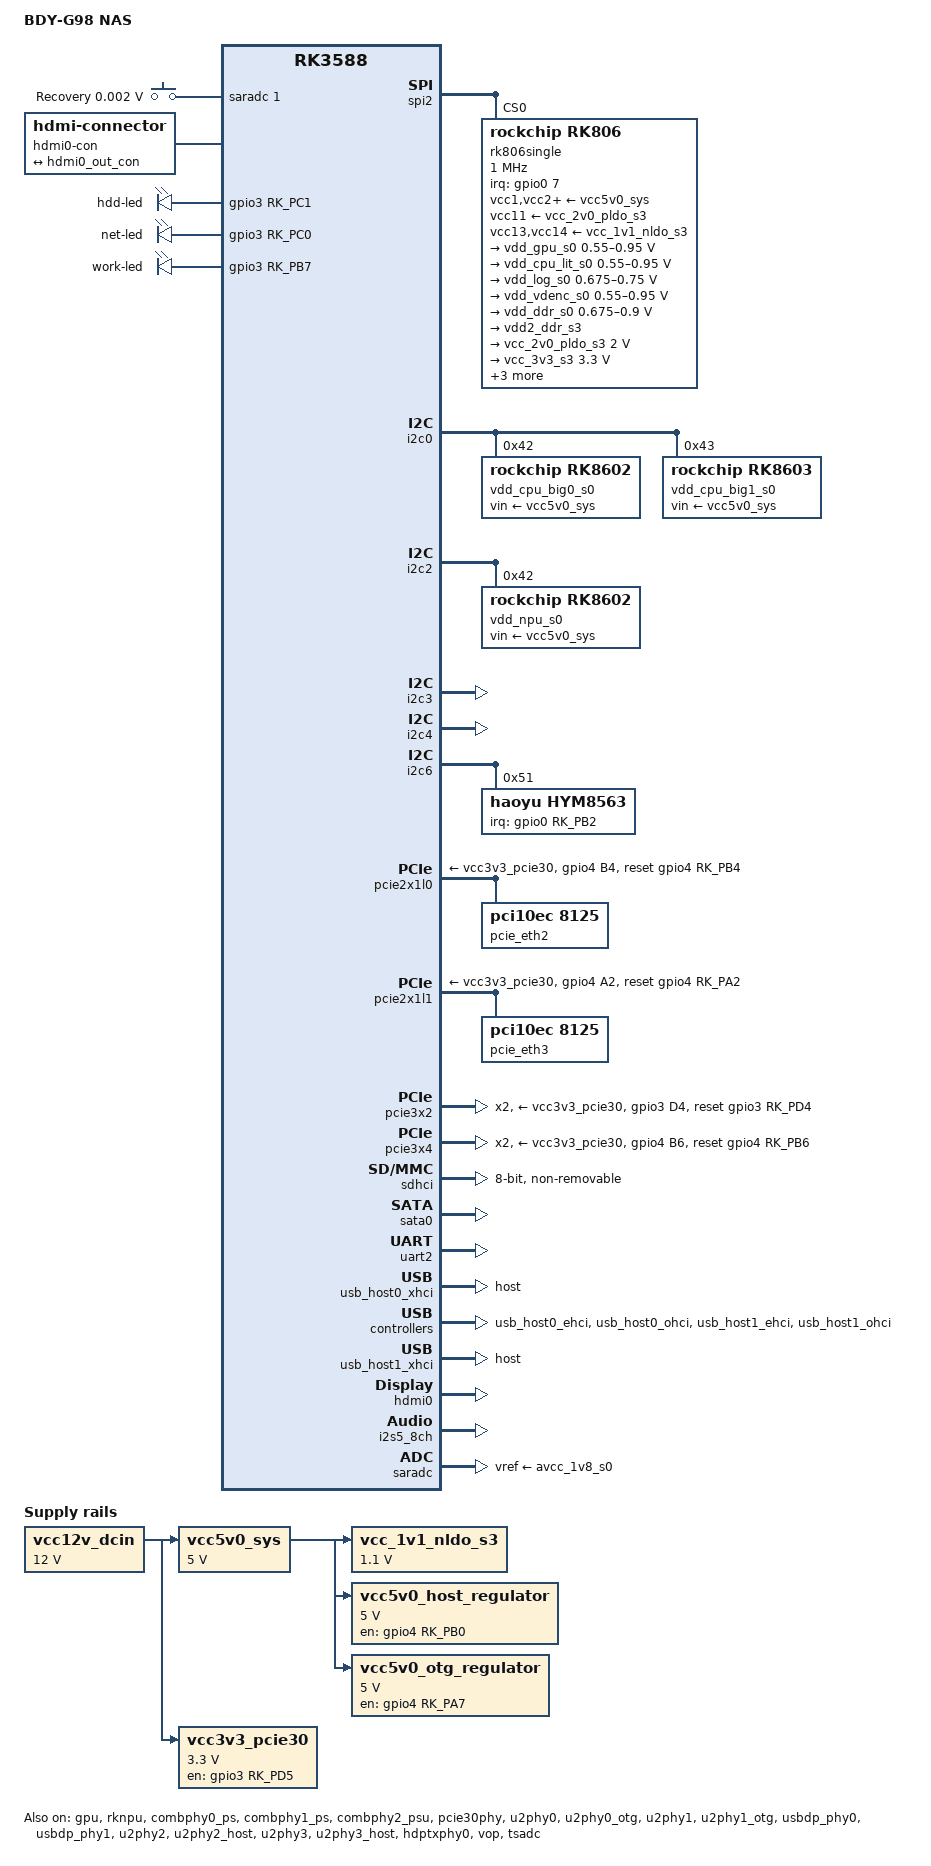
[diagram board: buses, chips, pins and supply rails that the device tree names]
// SPDX-License-Identifier: (GPL-2.0+ OR MIT)

/dts-v1/;

#include <dt-bindings/gpio/gpio.h>
#include <dt-bindings/leds/common.h>
#include <dt-bindings/input/input.h>
#include <dt-bindings/pwm/pwm.h>
#include <dt-bindings/pinctrl/rockchip.h>
#include <dt-bindings/soc/rockchip,vop2.h>
#include <dt-bindings/usb/pd.h>
#include <rockchip/rk3588.dtsi>
#include "rk3588-rk806-single.dtsi"
#include "rk3588s-ip.dtsi"
#include "rk3588s-ip-supply.dtsi"

#include "rk3588-ramoops.dtsi"

/ {
	model = "BDY-G98 NAS";
	compatible = "bdy,g98-nas", "rockchip,rk3588";
	eth_order = "0003:31:00.0,0002:21:00.0";

	aliases {
		mmc0 = &sdhci;
		mmc1 = &sdmmc;
		mmc2 = &sdio;
		ethernet0 = &gmac0;
		ethernet1 = &gmac1;
		ethernet2 = &pcie_eth2;
		ethernet3 = &pcie_eth3;
	};

	chosen {
		stdout-path = "serial2:1500000n8";
	};

	adc_keys: adc-keys {
		compatible = "adc-keys";
		io-channels = <&saradc 1>;
		io-channel-names = "buttons";
		keyup-threshold-microvolt = <1800000>;
		poll-interval = <100>;

		button-recovery {
			label = "Recovery";
			linux,code = <KEY_VENDOR>;
			press-threshold-microvolt = <1800>;
		};
	};

  // vcc12v_dcin
	vcc12v_dcin: regulator-vcc12v-dcin {
		compatible = "regulator-fixed";
		regulator-name = "vcc12v_dcin";
		regulator-always-on;
		regulator-boot-on;
		regulator-min-microvolt = <12000000>;
		regulator-max-microvolt = <12000000>;
	};

  // vcc5v0_sys
	vcc5v0_sys: regulator-vcc5v0-sys {
		compatible = "regulator-fixed";
		regulator-name = "vcc5v0_sys";
		regulator-always-on;
		regulator-boot-on;
		regulator-min-microvolt = <5000000>;
		regulator-max-microvolt = <5000000>;
		vin-supply = <&vcc12v_dcin>;
	};

  // vcc_1v1_nldo_s3
	vcc_1v1_nldo_s3: regulator-vcc-1v1-nldo-s3 {
		compatible = "regulator-fixed";
		regulator-name = "vcc_1v1_nldo_s3";
		regulator-always-on;
		regulator-boot-on;
		regulator-min-microvolt = <1100000>;
		regulator-max-microvolt = <1100000>;
		vin-supply = <&vcc5v0_sys>;
	};

  // vcc3v3-pcie30
	vcc3v3_pcie30: vcc3v3-pcie30 {
		compatible = "regulator-fixed";
		regulator-min-microvolt = <3300000>;
		regulator-max-microvolt = <3300000>;
		regulator-name = "vcc3v3_pcie30";
		vin-supply = <&vcc12v_dcin>;
		enable-active-high;
		gpios = <&gpio3 RK_PD5 GPIO_ACTIVE_HIGH>;
		startup-delay-us = <7500>;
		pinctrl-names = "default";
		pinctrl-0 = <&nvme_power_en>;
	};

  // vcc5v0-host-regulator
    vcc5v0_host_regulator: vcc5v0-host-regulator {
		compatible = "regulator-fixed";
		enable-active-high;
		gpio = <&gpio4 RK_PB0 GPIO_ACTIVE_HIGH>;
	  pinctrl-names = "default";
	  pinctrl-0 = <&vcc5v0_host_en>;
		regulator-name = "vcc5v0_host";
		regulator-boot-on;
		regulator-always-on;
		regulator-min-microvolt = <5000000>;
		regulator-max-microvolt = <5000000>;
		vin-supply = <&vcc5v0_sys>;
	};

  // vcc5v0-otg-regulator
	vcc5v0_otg_regulator: vcc5v0-otg-regulator {
		compatible = "regulator-fixed";
		enable-active-high;
		gpio = <&gpio4 RK_PA7 GPIO_ACTIVE_HIGH>;
		pinctrl-names = "default";
	  pinctrl-0 = <&vcc5v0_otg_en>;
		regulator-min-microvolt = <5000000>;
		regulator-max-microvolt = <5000000>;
		regulator-name = "vcc5v0_otg";
		vin-supply = <&vcc5v0_sys>;
	};

	hdmi0-con {
		compatible = "hdmi-connector";
		type = "a";

		port {
			hdmi0_con_in: endpoint {
				remote-endpoint = <&hdmi0_out_con>;
			};
		};
	};

	hdmi0_sound: hdmi0-sound {
		status = "okay";
		compatible = "rockchip,hdmi";
		rockchip,mclk-fs = <128>;
		rockchip,card-name = "rockchip,hdmi0";
		rockchip,cpu = <&i2s5_8ch>;
		rockchip,codec = <&hdmi0>;
	};

	leds {
		compatible = "gpio-leds";
		status = "okay";

		hdd-led {
			default-state = "off";
			gpios = <&gpio3 RK_PC1 GPIO_ACTIVE_HIGH>;
		};

		net-led {
			default-state = "off";
			gpios = <&gpio3 RK_PC0 GPIO_ACTIVE_HIGH>;
		};

		work-led {
			gpios = <&gpio3 RK_PB7 GPIO_ACTIVE_HIGH>;
			linux,default-trigger = "heartbeat";
		};
	};
};

/* ===== PMIC (RK806) ===== */

// spi@feb20000
&spi2 {
	assigned-clocks = <&cru CLK_SPI2>;
	assigned-clock-rates = <200000000>;
	num-cs = <1>;
	pinctrl-names = "default";
	pinctrl-0 = <&spi2m2_cs0 &spi2m2_pins>;
	status = "okay";

	rk806single: pmic@0 {
		compatible = "rockchip,rk806";
		reg = <0x0>;

		interrupt-parent = <&gpio0>;
		interrupts = <7 IRQ_TYPE_LEVEL_LOW>;

		pinctrl-names = "default";
		pinctrl-0 = <&pmic_pins>, <&rk806_dvs1_null>,
			    <&rk806_dvs2_null>, <&rk806_dvs3_null>;

		/* 0: restart PMU;
		 * 1: reset all the power off reset registers,
		 *    forcing the state to switch to ACTIVE mode;
		 * 2: Reset all the power off reset registers,
		 *    forcing the state to switch to ACTIVE mode,
		 *    and simultaneously pull down the RESETB PIN for 5mS before releasing
		 */
		// pmic-reset-func = <1>;
		rockchip,reset-mode = <1>;
		/*
		 * pwrkey long press off time, unit is seconds.
		 * available values are 6, 8, 10, and 12 seconds. default is 6 seconds.
		 */
		long-press-off-time-sec = <10>;
		spi-max-frequency = <1000000>;
		system-power-controller;

		vcc1-supply = <&vcc5v0_sys>;
		vcc2-supply = <&vcc5v0_sys>;
		vcc3-supply = <&vcc5v0_sys>;
		vcc4-supply = <&vcc5v0_sys>;
		vcc5-supply = <&vcc5v0_sys>;
		vcc6-supply = <&vcc5v0_sys>;
		vcc7-supply = <&vcc5v0_sys>;
		vcc8-supply = <&vcc5v0_sys>;
		vcc9-supply = <&vcc5v0_sys>;
		vcc10-supply = <&vcc5v0_sys>;
		vcc11-supply = <&vcc_2v0_pldo_s3>;
		vcc12-supply = <&vcc5v0_sys>;
		vcc13-supply = <&vcc_1v1_nldo_s3>;
		vcc14-supply = <&vcc_1v1_nldo_s3>;
		vcca-supply = <&vcc5v0_sys>;

		gpio-controller;
		#gpio-cells = <2>;

		rk806_dvs1_null: dvs1-null-pins {
			pins = "gpio_pwrctrl1";
			function = "pin_fun0";
		};

		rk806_dvs2_null: dvs2-null-pins {
			pins = "gpio_pwrctrl2";
			function = "pin_fun0";
		};

		rk806_dvs3_null: dvs3-null-pins {
			pins = "gpio_pwrctrl3";
			function = "pin_fun0";
		};

		regulators {
			vdd_gpu_s0: vdd_gpu_mem_s0: dcdc-reg1 {
				regulator-boot-on;
				regulator-min-microvolt = <550000>;
				regulator-max-microvolt = <950000>;
				regulator-ramp-delay = <12500>;
				regulator-name = "vdd_gpu_s0";
				regulator-enable-ramp-delay = <400>;

				regulator-state-mem {
					regulator-off-in-suspend;
				};
			};

			vdd_cpu_lit_s0: vdd_cpu_lit_mem_s0: dcdc-reg2 {
				regulator-always-on;
				regulator-boot-on;
				regulator-min-microvolt = <550000>;
				regulator-max-microvolt = <950000>;
				regulator-ramp-delay = <12500>;
				regulator-name = "vdd_cpu_lit_s0";

				regulator-state-mem {
					regulator-off-in-suspend;
				};
			};

			vdd_log_s0: dcdc-reg3 {
				regulator-always-on;
				regulator-boot-on;
				regulator-min-microvolt = <675000>;
				regulator-max-microvolt = <750000>;
				regulator-ramp-delay = <12500>;
				regulator-name = "vdd_log_s0";

				regulator-state-mem {
					regulator-off-in-suspend;
					regulator-suspend-microvolt = <750000>;
				};
			};

			vdd_vdenc_s0: vdd_vdenc_mem_s0: dcdc-reg4 {
				regulator-always-on;
				regulator-boot-on;
				regulator-min-microvolt = <550000>;
				regulator-max-microvolt = <950000>;
				regulator-ramp-delay = <12500>;
				regulator-name = "vdd_vdenc_s0";

				regulator-state-mem {
					regulator-off-in-suspend;
				};
			};

			vdd_ddr_s0: dcdc-reg5 {
				regulator-always-on;
				regulator-boot-on;
				regulator-min-microvolt = <675000>;
				regulator-max-microvolt = <900000>;
				regulator-ramp-delay = <12500>;
				regulator-name = "vdd_ddr_s0";

				regulator-state-mem {
					regulator-off-in-suspend;
					regulator-suspend-microvolt = <850000>;
				};
			};

			vdd2_ddr_s3: dcdc-reg6 {
				regulator-always-on;
				regulator-boot-on;
				regulator-name = "vdd2_ddr_s3";

				regulator-state-mem {
					regulator-on-in-suspend;
				};
			};

			vcc_2v0_pldo_s3: dcdc-reg7 {
				regulator-always-on;
				regulator-boot-on;
				regulator-min-microvolt = <2000000>;
				regulator-max-microvolt = <2000000>;
				regulator-ramp-delay = <12500>;
				regulator-name = "vdd_2v0_pldo_s3";

				regulator-state-mem {
					regulator-on-in-suspend;
					regulator-suspend-microvolt = <2000000>;
				};
			};

			vcc_3v3_s3: dcdc-reg8 {
				regulator-always-on;
				regulator-boot-on;
				regulator-min-microvolt = <3300000>;
				regulator-max-microvolt = <3300000>;
				regulator-name = "vcc_3v3_s3";

				regulator-state-mem {
					regulator-on-in-suspend;
					regulator-suspend-microvolt = <3300000>;
				};
			};

			vddq_ddr_s0: dcdc-reg9 {
				regulator-always-on;
				regulator-boot-on;
				regulator-name = "vddq_ddr_s0";

				regulator-state-mem {
					regulator-off-in-suspend;
				};
			};

			vcc_1v8_s3: dcdc-reg10 {
				regulator-always-on;
				regulator-boot-on;
				regulator-min-microvolt = <1800000>;
				regulator-max-microvolt = <1800000>;
				regulator-name = "vcc_1v8_s3";

				regulator-state-mem {
					regulator-on-in-suspend;
					regulator-suspend-microvolt = <1800000>;
				};
			};

			avcc_1v8_s0: pldo-reg1 {
				regulator-always-on;
				regulator-boot-on;
				regulator-min-microvolt = <1800000>;
				regulator-max-microvolt = <1800000>;
				regulator-name = "avcc_1v8_s0";

				regulator-state-mem {
					regulator-off-in-suspend;
					regulator-suspend-microvolt = <1800000>;
				};
			};

			vcc_1v8_s0: pldo-reg2 {
				regulator-always-on;
				regulator-boot-on;
				regulator-min-microvolt = <1800000>;
				regulator-max-microvolt = <1800000>;
				regulator-name = "vcc_1v8_s0";

				regulator-state-mem {
					regulator-off-in-suspend;
					regulator-suspend-microvolt = <1800000>;
				};
			};

			avdd_1v2_s0: pldo-reg3 {
				regulator-always-on;
				regulator-boot-on;
				regulator-min-microvolt = <1200000>;
				regulator-max-microvolt = <1200000>;
				regulator-name = "avdd_1v2_s0";

				regulator-state-mem {
					regulator-off-in-suspend;
				};
			};

			vcc_3v3_s0: avcc_3v3_s0: pldo-reg4 {
				regulator-always-on;
				regulator-boot-on;
				regulator-min-microvolt = <3300000>;
				regulator-max-microvolt = <3300000>;
				regulator-ramp-delay = <12500>;
				regulator-name = "avcc_3v3_s0";

				regulator-state-mem {
					regulator-off-in-suspend;
				};
			};

			vccio_sd_s0: pldo-reg5 {
				regulator-always-on;
				regulator-boot-on;
				regulator-min-microvolt = <1800000>;
				regulator-max-microvolt = <3300000>;
				regulator-ramp-delay = <12500>;
				regulator-name = "vccio_sd_s0";

				regulator-state-mem {
					regulator-off-in-suspend;
				};
			};

			pldo6_s3: pldo-reg6 {
				regulator-always-on;
				regulator-boot-on;
				regulator-min-microvolt = <1800000>;
				regulator-max-microvolt = <1800000>;
				regulator-name = "pldo6_s3";

				regulator-state-mem {
					regulator-on-in-suspend;
					regulator-suspend-microvolt = <1800000>;
				};
			};

			vdd_0v75_s3: nldo-reg1 {
				regulator-always-on;
				regulator-boot-on;
				regulator-min-microvolt = <750000>;
				regulator-max-microvolt = <750000>;
				regulator-name = "vdd_0v75_s3";

				regulator-state-mem {
					regulator-on-in-suspend;
					regulator-suspend-microvolt = <750000>;
				};
			};

			vdd_ddr_pll_s0: avdd_ddr_pll_s0: nldo-reg2 {
				regulator-always-on;
				regulator-boot-on;
				regulator-min-microvolt = <850000>;
				regulator-max-microvolt = <850000>;
				regulator-name = "avdd_ddr_pll_s0";

				regulator-state-mem {
					regulator-off-in-suspend;
					regulator-suspend-microvolt = <850000>;
				};
			};

			avdd_0v75_s0: nldo-reg3 {
				regulator-always-on;
				regulator-boot-on;
				regulator-min-microvolt = <837500>;
				regulator-max-microvolt = <837500>;
				regulator-name = "avdd_0v75_s0";

				regulator-state-mem {
					regulator-off-in-suspend;
				};
			};

			vdd_0v85_s0: avdd_0v85_s0: nldo-reg4 {
				regulator-always-on;
				regulator-boot-on;
				regulator-min-microvolt = <850000>;
				regulator-max-microvolt = <850000>;
				regulator-name = "avdd_0v85_s0";

				regulator-state-mem {
					regulator-off-in-suspend;
				};
			};

			vdd_0v75_s0: nldo-reg5 {
				regulator-always-on;
				regulator-boot-on;
				regulator-min-microvolt = <750000>;
				regulator-max-microvolt = <750000>;
				regulator-name = "vdd_0v75_s0";

				regulator-state-mem {
					regulator-off-in-suspend;
				};
			};
		};
	};
};

/* ===== CPU Power ===== */

&cpu_l0 {
	cpu-supply = <&vdd_cpu_lit_s0>;
};

&cpu_l1 {
	cpu-supply = <&vdd_cpu_lit_s0>;
};

&cpu_l2 {
	cpu-supply = <&vdd_cpu_lit_s0>;
};

&cpu_l3 {
	cpu-supply = <&vdd_cpu_lit_s0>;
};

&cpu_b0 {
	cpu-supply = <&vdd_cpu_big0_s0>;
};

&cpu_b1 {
	cpu-supply = <&vdd_cpu_big0_s0>;
};

&cpu_b2 {
	cpu-supply = <&vdd_cpu_big1_s0>;
};

&cpu_b3 {
	cpu-supply = <&vdd_cpu_big1_s0>;
};

&i2c0 {
	pinctrl-names = "default";
	pinctrl-0 = <&i2c0m2_xfer>;
	status = "okay";

	vdd_cpu_big0_s0: regulator@42 {
		compatible = "rockchip,rk8602";
		reg = <0x42>;
		fcs,suspend-voltage-selector = <1>;
		regulator-name = "vdd_cpu_big0_s0";
		regulator-always-on;
		regulator-boot-on;
		regulator-min-microvolt = <550000>;
		regulator-max-microvolt = <1050000>;
		regulator-ramp-delay = <2300>;
		vin-supply = <&vcc5v0_sys>;

		regulator-state-mem {
			regulator-off-in-suspend;
		};
	};

	vdd_cpu_big1_s0: regulator@43 {
		compatible = "rockchip,rk8603", "rockchip,rk8602";
		reg = <0x43>;
		fcs,suspend-voltage-selector = <1>;
		regulator-name = "vdd_cpu_big1_s0";
		regulator-always-on;
		regulator-boot-on;
		regulator-min-microvolt = <550000>;
		regulator-max-microvolt = <1050000>;
		regulator-ramp-delay = <2300>;
		vin-supply = <&vcc5v0_sys>;

		regulator-state-mem {
			regulator-off-in-suspend;
		};
	};
};

/* ===== GPU ===== */

&gpu {
	mali-supply = <&vdd_gpu_s0>;
	status = "okay";
};

/* ===== NPU ===== */

&rknpu {
    rknpu-supply = <&vdd_npu_s0>;
    mem-supply = <&vdd_npu_mem_s0>;
    status = "okay";
};

&rknpu_mmu {
    status = "okay";
};

/* ===== I2C / RTC ===== */

// i2c1: i2c@fea90000
&i2c1 {
    pinctrl-names = "default";
    pinctrl-0 = <&i2c1m0_xfer>;
    status = "disabled";
};

// i2c2: i2c@feaa0000
&i2c2 {
	pinctrl-names = "default";
	pinctrl-0 = <&i2c2m0_xfer>;
	status = "okay";

	vdd_npu_s0: vdd_npu_mem_s0: regulator@42 {
		compatible = "rockchip,rk8602";
		reg = <0x42>;
		fcs,suspend-voltage-selector = <1>;
		regulator-name = "vdd_npu_s0";
		regulator-always-on;
		regulator-boot-on;
		regulator-enable-ramp-delay = <500>;
		regulator-min-microvolt = <550000>;
		regulator-max-microvolt = <950000>;
		regulator-ramp-delay = <2300>;
		vin-supply = <&vcc5v0_sys>;

		regulator-state-mem {
			regulator-off-in-suspend;
		};
	};
};

// i2c3: i2c@feab0000
&i2c3 {
	pinctrl-names = "default";
	pinctrl-0 = <&i2c3m0_xfer>;
	status = "okay";
};

// i2c4: i2c@feac0000
&i2c4 {
	pinctrl-names = "default";
	pinctrl-0 = <&i2c4m3_xfer>;
	status = "okay";
};

// i2c6: i2c@fec80000
&i2c6 {
	pinctrl-names = "default";
	pinctrl-0 = <&i2c6m0_xfer>;
	status = "okay";

	hym8563: rtc@51 {
		compatible = "haoyu,hym8563";
		reg = <0x51>;
		#clock-cells = <0>;
		clock-output-names = "hym8563";
		pinctrl-names = "default";
		pinctrl-0 = <&hym8563_int>;
		interrupt-parent = <&gpio0>;
		interrupts = <RK_PB2 IRQ_TYPE_LEVEL_LOW>;
		wakeup-source;
	};
};

/* ===== PCIe ===== */

// phy: phy@fee00000
&combphy0_ps {
	pinctrl-0 = <&sata0_pm_reset>;
	pinctrl-names = "default";
	status = "okay";
};

// phy: phy@fee10000
&combphy1_ps {
	status = "okay";
};

// phy: phy@fee20000
&combphy2_psu {
	status = "okay";
};

// phy: phy@fee80000
&pcie30phy {
	data-lanes = <1 1 2 2>;
	status = "okay";
};

// pcie2x1l0: pcie@fe170000
&pcie2x1l0 {
	pinctrl-names = "default";
	pinctrl-0 = <&pcie2_0_rst>;
	supports-clkreq;
	reset-gpios = <&gpio4 RK_PB4 GPIO_ACTIVE_HIGH>;
	vpcie3v3-supply = <&vcc3v3_pcie30>;
	status = "okay";

	pcie@0,0 {
		reg = <0x00200000 0 0 0 0>;
		#address-cells = <3>;
		#size-cells = <2>;

		bus-range = <0x20 0x2f>;
		device_type = "pci";
		ranges;

		pcie_eth2: pcie-eth@20,0 {
			compatible = "pci10ec,8125";
			local-mac-address = [4e 40 ca c9 65 d2];
			reg = <0x00210000 0 0 0 0>;
			/* 2.5G网口led灯，如果要闪烁设置为：<0x002b 0x002b 0x0000 0x0000>;
			 * 该网口灯无法单独控制，只能一起闪，一起灭，一起亮！！！ 
			*/ 
			led-data = <0x002a 0x002a 0x0000 0x0000>;
			realtek,led-data = <0x002a 0x002a 0x0000 0x0000>;
			realtek,led-feature = /bits/ 8 <0xC0>;
		};
	};
};

// pcie2x1l1: pcie@fe180000
&pcie2x1l1 {
	pinctrl-names = "default";
	pinctrl-0 = <&pcie2_1_rst>;
	supports-clkreq;
	reset-gpios = <&gpio4 RK_PA2 GPIO_ACTIVE_HIGH>;
	vpcie3v3-supply = <&vcc3v3_pcie30>;
	status = "okay";

	pcie@0,0 {
		reg = <0x00300000 0 0 0 0>;
		#address-cells = <3>;
		#size-cells = <2>;

		bus-range = <0x30 0x3f>;
		device_type = "pci";
		ranges;

		pcie_eth3: pcie-eth@30,0 {
			compatible = "pci10ec,8125";
			local-mac-address = [4e 40 ca c9 65 d1];
			reg = <0x00310000 0 0 0 0>;
			/* 2.5G网口led灯，如果要闪烁设置为：<0x002b 0x002b 0x0000 0x0000>;
			 * 该网口灯无法单独控制，只能一起闪，一起灭，一起亮！！！ 
			*/ 
			led-data = <0x002a 0x002a 0x0000 0x0000>;
			realtek,led-data = <0x002a 0x002a 0x0000 0x0000>;
			realtek,led-feature = /bits/ 8 <0xC0>;
		};
	};
};

// pcie2x1l2: pcie@fe190000
&pcie2x1l2 {
	status = "disabled";
};

// pcie3x2: pcie@fe160000
&pcie3x2 {
	pinctrl-names = "default";
	pinctrl-0 = <&pcie3x2_rst>;
	num-lanes = <2>;
	reset-gpios = <&gpio3 RK_PD4 GPIO_ACTIVE_HIGH>;
	vpcie3v3-supply = <&vcc3v3_pcie30>;
	status = "okay";

	pcie@0,0 {
		reg = <0x00100000 0 0 0 0>;
		#address-cells = <3>;
		#size-cells = <2>;

		nvme1: pcie@10,0 {
			reg = <0x000000 0 0 0 0>;
		};
	};
};

// pcie3x4: pcie@fe150000 
&pcie3x4 {
	pinctrl-names = "default";
	pinctrl-0 = <&pcie3x4_rst>;
	num-lanes = <2>;
	reset-gpios = <&gpio4 RK_PB6 GPIO_ACTIVE_HIGH>;
	vpcie3v3-supply = <&vcc3v3_pcie30>;
	status = "okay";

	pcie@0,0 {
		reg = <0x00000000 0 0 0 0>;
		#address-cells = <3>;
		#size-cells = <2>;

		nvme0: pcie@0,0 {
			reg = <0x000000 0 0 0 0>;
		};
	};
};

/* ===== Pin Control ===== */

&pinctrl {
	hym8563 {
		hym8563_int: hym8563-int {
			rockchip,pins = <0 RK_PB2 RK_FUNC_GPIO &pcfg_pull_up>;
		};
	};

	pcie {
		pcie2_0_rst: pcie2-0-rst {
			rockchip,pins = <4 RK_PB4 RK_FUNC_GPIO &pcfg_pull_none>;
		};

		pcie2_1_rst: pcie2-1-rst {
			rockchip,pins = <4 RK_PA2 RK_FUNC_GPIO &pcfg_pull_none>;
		};

		pcie3x2_rst: pcie3x2-rst {
			rockchip,pins = <3 RK_PD4 RK_FUNC_GPIO &pcfg_pull_none>;
		};

		pcie3x4_rst: pcie3x4-rst {
			rockchip,pins = <4 RK_PB6 RK_FUNC_GPIO &pcfg_pull_none>;
		};
	};

	nvme {
		nvme_power_en: nvme-power-en {
			rockchip,pins = <3 RK_PD5 RK_FUNC_GPIO &pcfg_pull_none>;
		};
	};

	usb {
		vcc5v0_host_en: vcc5v0-host-en {
			rockchip,pins = <4 RK_PB0 RK_FUNC_GPIO &pcfg_pull_none>;
		};

		vcc5v0_otg_en: vcc5v0-otg-en {
			rockchip,pins = <4 RK_PA7 RK_FUNC_GPIO &pcfg_pull_none>;
		};
	};

	sata {
		sata0_pm_reset: sata0-pm-reset {
			rockchip,pins = <0 RK_PD5 RK_FUNC_GPIO &pcfg_output_high>;
		};
	};
};

/* ===== Storage ===== */

// sdhci: mmc@fe2e0000
&sdhci {
	bus-width = <8>;
	no-sdio;
	no-sd;
	supports-emmc;
	non-removable;
	max-frequency = <200000000>;
	pinctrl-0 = <&emmc_clk &emmc_cmd &emmc_bus8 &emmc_data_strobe &emmc_rstnout>;
	pinctrl-names = "default";
	mmc-hs200-1_8v;
	mmc-hs400-1_8v;
	mmc-hs400-enhanced-strobe;
	status = "okay";
};

// sdmmc: mmc@fe2c0000
&sdmmc {
	status = "disabled";
};

// sdio: mmc@fe2d0000
&sdio {
	/delete-property/ pinctrl-0;
	/delete-property/ pinctrl-names;
	status = "disabled";
};

/* ===== SATA ===== */

// sata0: sata@fe210000 
&sata0 {
	status = "okay";
};

/* ===== Ethernet ===== */

// gmac0: ethernet@fe1b0000 
&gmac0 {
	/delete-property/ snps,reset-gpio;
	/delete-property/ snps,reset-active-low;
	/delete-property/ snps,reset-delays-us;
	clock_in_out = "output";
	phy-mode = "rgmii-rxid";
	pinctrl-0 = <&gmac0_miim &gmac0_tx_bus2 &gmac0_rx_bus2 &gmac0_rgmii_clk &gmac0_rgmii_bus>;
	//snps,reset-gpio = <&gpio3 RK_PD0 GPIO_ACTIVE_LOW>;
	//snps,reset-active-low;
	//snps,reset-delays-us = <0 20000 100000>;
	pinctrl-names = "default";
	status = "disabled";

	fixed-link {
		speed = <1000>;
		full-duplex;
		pause;
	};

};

// gmac1: ethernet@fe1c0000
&gmac1 {
	/delete-property/ snps,reset-gpio;
	/delete-property/ snps,reset-active-low;
	/delete-property/ snps,reset-delays-us;
	clock_in_out = "output";
	phy-mode = "rgmii-rxid";
	pinctrl-0 = <&gmac1_miim &gmac1_tx_bus2 &gmac1_rx_bus2 &gmac1_rgmii_clk &gmac1_rgmii_bus>;
	//snps,reset-gpio = <&gpio4 RK_PB3 GPIO_ACTIVE_LOW>;
	//snps,reset-active-low;
	//snps,reset-delays-us = <0 20000 100000>;
	pinctrl-names = "default";
	status = "disabled";

	fixed-link {
		speed = <1000>;
		full-duplex;
		pause;
	};

};

/* ===== UART ===== */

&uart2 {
	pinctrl-0 = <&uart2m0_xfer>;
	status = "okay";
};

/* uart7m2 (feba0000) muxes to GPIO1_PB4/PB5, which conflicts with
 * pcie2x1l0 PERST# (pcie2_0_rst = GPIO1_PB4). If uart7 probes, the
 * pcie2x1l0 host bridge loses the pinctrl request and fails to probe,
 * taking the first 2.5G NIC down with it. Keep it disabled.
 */
&uart7 {
	status = "disabled";
};

/* ===== USB ===== */
&u2phy0 {
	status = "okay";
};

&u2phy0_otg {
	phy-supply = <&vcc5v0_otg_regulator>;
	status = "okay";
};

&u2phy1 {
	status = "okay";
};

&u2phy1_otg {
	phy-supply = <&vcc5v0_host_regulator>;
	status = "okay";
};

// usbdp_phy0: phy@fed80000 
&usbdp_phy0 {
	rockchip,dp-lane-mux = <2 3>;
	status = "okay";

	u3-port {
		#phy-cells = <0>;
		maximum-speed = "super-speed";
		status = "okay";
	};
};

// usbdp_phy1: phy@fed90000
&usbdp_phy1 {
	rockchip,dp-lane-mux = <2 3>;
	status = "okay";

	u3-port {
		#phy-cells = <0>;
		maximum-speed = "super-speed";
		status = "okay";
	};
};

// u2phy2: usb2phy@8000
&u2phy2 {
	status = "okay";
};

&u2phy2_host{
	phy-supply = <&vcc5v0_host_regulator>;
	status = "okay";
};

// usb_host0_xhci: usb@fc000000 
&usb_host0_xhci {
	dr_mode = "host";
	status = "okay";
};

// usb_host0_ehci: usb@fc800000 
&usb_host0_ehci {
	status = "okay";
};

// usb_host0_ohci: usb@fc840000
&usb_host0_ohci {
	status = "okay";
};

// u2phy3: usb2phy@c000
&u2phy3 {
	status = "okay";
};

&u2phy3_host{
	phy-supply = <&vcc5v0_host_regulator>;
	status = "okay";
};

// usb_host1_xhci: usb@fc400000
&usb_host1_xhci {
	dr_mode = "host";
	status = "okay";
};

// usb_host1_ehci: usb@fc880000
&usb_host1_ehci {
	status = "okay";
};

// usb_host1_ohci: usb@fc8c0000
&usb_host1_ohci {
	status = "okay";
};

/* ===== HDMI / Display ===== */
// hdptxphy0: phy@fed60000
&hdptxphy0 {
	status = "okay";
};

// hdmi@fde80000
&hdmi0 {
	pinctrl-names = "default";
	pinctrl-0 = <&hdmim0_tx0_cec &hdmim0_tx0_hpd &hdmim0_tx0_scl &hdmim0_tx0_sda>;
	enable-gpios = <&gpio4 RK_PB1 GPIO_ACTIVE_HIGH>;
	status = "okay";
};

&hdmi0_in {
	hdmi0_in_vp0: endpoint {
		remote-endpoint = <&vp0_out_hdmi0>;
	};
};

&hdmi0_out {
	hdmi0_out_con: endpoint {
		remote-endpoint = <&hdmi0_con_in>;
	};
};

&i2s5_8ch {
	status = "okay";
};

&hdmi0_sound {
	status = "okay";
};

&vop_mmu {
	status = "okay";
};

&vop {
	status = "okay";
};

&vp0 {
	vp0_out_hdmi0: endpoint@ROCKCHIP_VOP2_EP_HDMI0 {
		reg = <ROCKCHIP_VOP2_EP_HDMI0>;
		remote-endpoint = <&hdmi0_in_vp0>;
	};
};

/* ===== Other ===== */

// saradc: adc@fec10000
&saradc {
	vref-supply = <&avcc_1v8_s0>;
	status = "okay";
};

// tsadc: tsadc@fec00000
&tsadc {
	status = "okay";
};

/* ===== Switch ===== */
&mdio0 {
	switch@1d {
		compatible = "motorcomm,yt9215";
		reg = <0x1d>;
		status = "disabled";
		dsa,member = <1 0>;

		mdio {
			#address-cells = <1>;
			#size-cells = <0>;
			sw1phy1: phy@1 { reg = <1>; };
			sw1phy2: phy@2 { reg = <2>; };
			sw1phy3: phy@3 { reg = <3>; };
			sw1phy4: phy@4 { reg = <4>; };
		};

		ethernet-ports {
			#address-cells = <1>;
			#size-cells = <0>;

			ethernet-port@1 {
				reg = <1>;
				label = "lan5";
				phy-mode = "internal";
				phy-handle = <&sw1phy1>;
			};
			ethernet-port@2 {
				reg = <2>;
				label = "lan6";
				phy-mode = "internal";
				phy-handle = <&sw1phy2>;
			};
			ethernet-port@3 {
				reg = <3>;
				label = "lan7";
				phy-mode = "internal";
				phy-handle = <&sw1phy3>;
			};
			ethernet-port@4 {
				reg = <4>;
				label = "lan8";
				phy-mode = "internal";
				phy-handle = <&sw1phy4>;
			};
			ethernet-port@9 {
				reg = <9>;
				ethernet = <&gmac0>;
				phy-mode = "rgmii-txid";

				fixed-link {
					speed = <1000>;
					full-duplex;
				};
			};
		};
	};
};

&mdio1 {
	switch@1d {
		compatible = "motorcomm,yt9215";
		reg = <0x1d>;
		status = "disabled";
		dsa,member = <0 0>;

		mdio {
			#address-cells = <1>;
			#size-cells = <0>;
			sw0phy1: phy@1 { reg = <1>; };
			sw0phy2: phy@2 { reg = <2>; };
			sw0phy3: phy@3 { reg = <3>; };
			sw0phy4: phy@4 { reg = <4>; };
		};

		ethernet-ports {
			#address-cells = <1>;
			#size-cells = <0>;

			ethernet-port@1 {
				reg = <1>;
				label = "lan1";
				phy-mode = "internal";
				phy-handle = <&sw0phy1>;
			};
			ethernet-port@2 {
				reg = <2>;
				label = "lan2";
				phy-mode = "internal";
				phy-handle = <&sw0phy2>;
			};
			ethernet-port@3 {
				reg = <3>;
				label = "lan3";
				phy-mode = "internal";
				phy-handle = <&sw0phy3>;
			};
			ethernet-port@4 {
				reg = <4>;
				label = "lan4";
				phy-mode = "internal";
				phy-handle = <&sw0phy4>;
			};
			ethernet-port@9 {
				reg = <9>;
				ethernet = <&gmac1>;
				phy-mode = "rgmii-txid";

				fixed-link {
					speed = <1000>;
					full-duplex;
				};
			};
		};
	};
};
